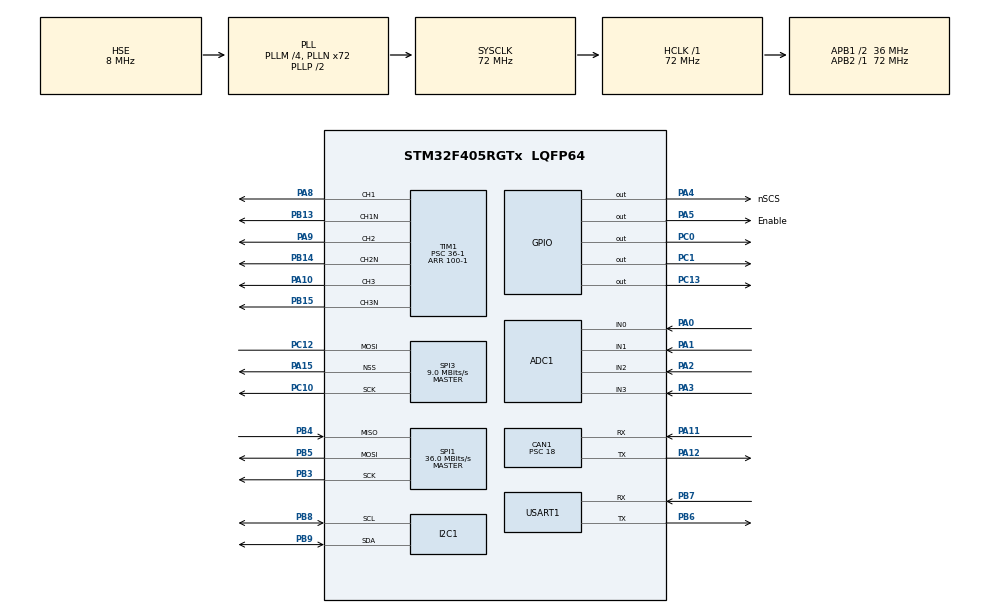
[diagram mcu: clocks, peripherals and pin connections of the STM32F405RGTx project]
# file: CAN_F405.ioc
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ADC1.Channel-0\#ChannelRegularConversion=ADC_CHANNEL_0
ADC1.Channel-10\#ChannelInjectedConversion=ADC_CHANNEL_1
ADC1.Channel-11\#ChannelInjectedConversion=ADC_CHANNEL_2
ADC1.Channel-12\#ChannelInjectedConversion=ADC_CHANNEL_3
ADC1.ContinuousConvMode=DISABLE
ADC1.DataAlign=ADC_DATAALIGN_RIGHT
ADC1.EOCSelection=ADC_EOC_SEQ_CONV
ADC1.ExternalTrigConv=ADC_SOFTWARE_START
ADC1.ExternalTrigInjecConv=ADC_EXTERNALTRIGINJECCONV_T1_CC4
ADC1.InjNumberOfConversion=3
ADC1.InjectedOffset-10\#ChannelInjectedConversion=0
ADC1.InjectedOffset-11\#ChannelInjectedConversion=0
ADC1.InjectedOffset-12\#ChannelInjectedConversion=0
ADC1.InjectedRank-10\#ChannelInjectedConversion=1
ADC1.InjectedRank-11\#ChannelInjectedConversion=2
ADC1.InjectedRank-12\#ChannelInjectedConversion=3
ADC1.NbrOfConversion=1
ADC1.NbrOfConversionFlag=1
ADC1.Rank-0\#ChannelRegularConversion=1
ADC1.SamplingTime-0\#ChannelRegularConversion=ADC_SAMPLETIME_144CYCLES
ADC1.SamplingTime-10\#ChannelInjectedConversion=ADC_SAMPLETIME_15CYCLES
ADC1.SamplingTime-11\#ChannelInjectedConversion=ADC_SAMPLETIME_15CYCLES
ADC1.SamplingTime-12\#ChannelInjectedConversion=ADC_SAMPLETIME_15CYCLES
ADC1.ScanConvMode=ENABLE
ADC1.master=1
CAN1.BS1=CAN_BS1_2TQ
CAN1.CalculateBaudRate=500000
CAN1.CalculateTimeBit=2000
CAN1.CalculateTimeQuantum=500.0
CAN1.Prescaler=18
I2C1.I2C_Mode=I2C_Fast
Mcu.Family=STM32F4
Mcu.Name=STM32F405RGTx
Mcu.Package=LQFP64
NVIC.ADC_IRQn=true\:1\:0\:true\:false\:true\:true\:true
NVIC.CAN1_RX0_IRQn=true\:0\:0\:false\:false\:true\:true\:true
NVIC.PriorityGroup=NVIC_PRIORITYGROUP_4
NVIC.TIM2_IRQn=true\:0\:0\:false\:false\:true\:true\:true
NVIC.TIM3_IRQn=true\:0\:0\:false\:false\:true\:true\:true
NVIC.TIM4_IRQn=true\:0\:0\:false\:false\:true\:true\:true
PA0-WKUP.Signal=ADCx_IN0
PA1.Signal=ADCx_IN1
PA10.Signal=S_TIM1_CH3
PA11.Mode=CAN_Activate
PA11.Signal=CAN1_RX
PA12.Mode=CAN_Activate
PA12.Signal=CAN1_TX
PA13.Mode=Serial_Wire
PA13.Signal=SYS_JTMS-SWDIO
PA14.Mode=Serial_Wire
PA14.Signal=SYS_JTCK-SWCLK
PA15.Mode=NSS_Signal_Hard_Output
PA15.Signal=SPI3_NSS
PA2.Signal=ADCx_IN2
PA3.Signal=ADCx_IN3
PA4.GPIO_Label=nSCS
PA4.Signal=GPIO_Output
PA5.GPIO_Label=Enable
PA5.Signal=GPIO_Output
PA8.Signal=S_TIM1_CH1
PA9.Signal=S_TIM1_CH2
PB13.Mode=PWM Generation1 CH1 CH1N
PB13.Signal=TIM1_CH1N
PB14.Mode=PWM Generation2 CH2 CH2N
PB14.Signal=TIM1_CH2N
PB15.Mode=PWM Generation3 CH3 CH3N
PB15.Signal=TIM1_CH3N
PB3.Mode=Full_Duplex_Master
PB3.Signal=SPI1_SCK
PB4.Mode=Full_Duplex_Master
PB4.Signal=SPI1_MISO
PB5.Mode=Full_Duplex_Master
PB5.Signal=SPI1_MOSI
PB6.Mode=Asynchronous
PB6.Signal=USART1_TX
PB7.Mode=Asynchronous
PB7.Signal=USART1_RX
PB8.Mode=I2C
PB8.Signal=I2C1_SCL
PB9.Mode=I2C
PB9.Signal=I2C1_SDA
PC0.Signal=GPIO_Output
PC1.Signal=GPIO_Output
PC10.Mode=Simplex_Bidirectional_Master
PC10.Signal=SPI3_SCK
PC12.Mode=Simplex_Bidirectional_Master
PC12.Signal=SPI3_MOSI
PC13-ANTI_TAMP.PinState=GPIO_PIN_RESET
PC13-ANTI_TAMP.Signal=GPIO_Output
PH0-OSC_IN.Mode=HSE-External-Oscillator
PH0-OSC_IN.Signal=RCC_OSC_IN
PH1-OSC_OUT.Mode=HSE-External-Oscillator
PH1-OSC_OUT.Signal=RCC_OSC_OUT
ProjectManager.HeapSize=0x200
ProjectManager.StackSize=0x400
ProjectManager.TargetToolchain=MDK-ARM V5.32
RCC.48MHZClocksFreq_Value=36000000
RCC.AHBFreq_Value=72000000
RCC.APB1CLKDivider=RCC_HCLK_DIV2
RCC.APB1Freq_Value=36000000
RCC.APB1TimFreq_Value=72000000
RCC.APB2Freq_Value=72000000
RCC.APB2TimFreq_Value=72000000
RCC.CortexFreq_Value=72000000
RCC.HCLKFreq_Value=72000000
RCC.HSE_VALUE=8000000
RCC.HSI_VALUE=16000000
RCC.LSE_VALUE=32768
RCC.PLLM=4
RCC.PLLN=72
RCC.PLLSourceVirtual=RCC_PLLSOURCE_HSE
RCC.SYSCLKFreq_VALUE=72000000
RCC.SYSCLKSource=RCC_SYSCLKSOURCE_PLLCLK
RCC.VCOOutputFreq_Value=144000000
SH.ADCx_IN0.0=ADC1_IN0,IN0
SH.ADCx_IN1.0=ADC1_IN1,IN1
SH.ADCx_IN2.0=ADC1_IN2,IN2
SH.ADCx_IN3.0=ADC1_IN3,IN3
SH.S_TIM1_CH1.0=TIM1_CH1,PWM Generation1 CH1 CH1N
SH.S_TIM1_CH2.0=TIM1_CH2,PWM Generation2 CH2 CH2N
SH.S_TIM1_CH3.0=TIM1_CH3,PWM Generation3 CH3 CH3N
SPI1.CRCCalculation=SPI_CRCCALCULATION_DISABLE
SPI1.CalculateBaudRate=36.0 MBits/s
SPI1.Direction=SPI_DIRECTION_2LINES
SPI1.Mode=SPI_MODE_MASTER
SPI1.VirtualType=VM_MASTER
SPI3.BaudRatePrescaler=SPI_BAUDRATEPRESCALER_4
SPI3.CalculateBaudRate=9.0 MBits/s
SPI3.Direction=SPI_DIRECTION_1LINE
SPI3.Mode=SPI_MODE_MASTER
SPI3.VirtualNSS=VM_NSSHARD
SPI3.VirtualType=VM_MASTER
TIM1.AutoReloadPreload=TIM_AUTORELOAD_PRELOAD_DISABLE
TIM1.Channel-PWM\ Generation1\ CH1\ CH1N=TIM_CHANNEL_1
TIM1.Channel-PWM\ Generation2\ CH2\ CH2N=TIM_CHANNEL_2
TIM1.Channel-PWM\ Generation3\ CH3\ CH3N=TIM_CHANNEL_3
TIM1.Channel-PWM\ Generation4\ No\ Output=TIM_CHANNEL_4
TIM1.CounterMode=TIM_COUNTERMODE_CENTERALIGNED1
TIM1.DeadTime=5
TIM1.LockLevel=TIM_LOCKLEVEL_OFF
TIM1.OCIdleState_4=TIM_OCIDLESTATE_SET
TIM1.OCMode_PWM-PWM\ Generation4\ No\ Output=TIM_OCMODE_PWM2
TIM1.OCNIdleState_1=TIM_OCNIDLESTATE_SET
TIM1.OCNIdleState_2=TIM_OCNIDLESTATE_SET
TIM1.OCNIdleState_3=TIM_OCNIDLESTATE_SET
TIM1.OffStateIDLEMode=TIM_OSSI_ENABLE
TIM1.OffStateRunMode=TIM_OSSR_ENABLE
TIM1.Period=100-1
TIM1.Prescaler=36-1
TIM1.TIM_MasterOutputTrigger=TIM_TRGO_OC4REF
TIM2.AutoReloadPreload=TIM_AUTORELOAD_PRELOAD_ENABLE
TIM2.Period=1000-1
TIM2.Prescaler=72-1
TIM3.AutoReloadPreload=TIM_AUTORELOAD_PRELOAD_ENABLE
TIM3.Period=1000-1
TIM3.Prescaler=72-1
TIM4.Period=1000-1
TIM4.Prescaler=72-1
USART1.VirtualMode=VM_ASYNC
VP_TIM1_VS_ClockSourceINT.Mode=Internal
VP_TIM1_VS_no_output4.Mode=PWM Generation4 No Output
VP_TIM2_VS_ClockSourceINT.Mode=Internal
VP_TIM3_VS_ClockSourceINT.Mode=Internal
VP_TIM4_VS_ClockSourceINT.Mode=Internal
board=custom

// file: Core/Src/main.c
/* USER CODE BEGIN Header */
/**
  ******************************************************************************
  * @file           : main.c
  * @brief          : Main program body
  ******************************************************************************
  * @attention
  *
  * Copyright (c) 2022 STMicroelectronics.
  * All rights reserved.
  *
  * This software is licensed under terms that can be found in the LICENSE file
  * in the root directory of this software component.
  * If no LICENSE file comes with this software, it is provided AS-IS.
  *
  ******************************************************************************
  */
/* USER CODE END Header */
#include "main.h"
#include "adc.h"
#include "can.h"
#include "i2c.h"
#include "spi.h"
#include "tim.h"
#include "usart.h"
#include "gpio.h"
#include <math.h>
#include "lcd114.h"
#include "AS5600.h"
#include "drv8323.h"
#include "FOC.h"
#include "PID.h"

/* USER CODE BEGIN Includes */
//#define Duty 40
//#define A0 __HAL_TIM_SET_COMPARE(&htim1,TIM_CHANNEL_1,0)
//#define B0 __HAL_TIM_SET_COMPARE(&htim1,TIM_CHANNEL_2,0)
//#define C0 __HAL_TIM_SET_COMPARE(&htim1,TIM_CHANNEL_3,0)
//#define A1 __HAL_TIM_SET_COMPARE(&htim1,TIM_CHANNEL_1,Duty)
//#define B1 __HAL_TIM_SET_COMPARE(&htim1,TIM_CHANNEL_2,Duty)
//#define C1 __HAL_TIM_SET_COMPARE(&htim1,TIM_CHANNEL_3,Duty)
/* USER CODE END Includes */

/* USER CODE BEGIN PM */
float angle_sp=0;                         //角度给定
float vel_sp=0;                           //转速给定
float tor_sp=0;                           //力矩给定

float angle_el=0;                         //电角度
float angle=0;                            //机械角度/56

int p=14;               //电机极对数

extern float vel_LPF;    //PID参数
extern float tor_q;
extern float Iq;
extern float Id;
extern float Uq_set;
extern float Ud_set;
extern float vel_c;
extern float Ts;

extern float integral_Iq_prev;
extern float integral_vel_prev;

extern float Power;      //ADC参数
extern float Ia;
extern float Ib;
extern float Ic;

float warebuf[8];

/* USER CODE END PM */

/* USER CODE BEGIN PV */
//int fputc(int c,FILE *sream)
//{
//	HAL_UART_Transmit(&huart1,(unsigned char *)&c,1,1000);
//	return 1;
//}
/* USER CODE END PV */

void SystemClock_Config(void);
/* USER CODE BEGIN PFP */
float as5600GetAngle();
/* USER CODE END PFP */

/* USER CODE BEGIN 0 */
  static CAN_TxHeaderTypeDef TxHeader;
  static CAN_RxHeaderTypeDef RxHeader;
  uint8_t TxData[8];
	uint8_t RxData[8];

	uint32_t TxMailbox;

	float current;

	int16_t set_speed;
	int16_t set_angle;
	float set_current;
void HAL_CAN_RxFifo0MsgPendingCallback(CAN_HandleTypeDef *hcan1)                   //CAN数据接收回调
{
	HAL_CAN_GetRxMessage(hcan1,CAN_RX_FIFO0,&RxHeader,RxData);
	if(RxHeader.StdId == 0x0201)                                                    //转速
	{
		if(RxData[0] == 0) vel_sp = (16*16*16*RxData[1]+16*16*RxData[2]+16*RxData[3]+RxData[4])*2*3.14/60;
		else if (RxData[0] == 1) vel_sp = -(16*16*16*RxData[1]+16*16*RxData[2]+16*RxData[3]+RxData[4])*2*3.14/60;
			DRV832x_initSPIInterface(GPIOA, GPIO_PIN_4, &hspi1, GPIOA, GPIO_PIN_5);

	}
	else if(RxHeader.StdId == 0x0202)                                               //角度
	{
		if(RxData[0] == 0) angle_sp = 16*16*RxData[1]+16*RxData[2]+RxData[3];
		else if (RxData[0] == 1) angle_sp = -(16*16*RxData[1]+16*RxData[2]+RxData[3]);
			DRV832x_initSPIInterface(GPIOA, GPIO_PIN_4, &hspi1, GPIOA, GPIO_PIN_5);
	}
	else if(RxHeader.StdId == 0x0203)                                               //电流
	{
		if(RxData[0] == 0) tor_sp = RxData[1]+0.01*(16*RxData[2]+RxData[3]);
		else if (RxData[0] == 1) tor_sp = -(RxData[1]+0.01*(16*RxData[2]+RxData[3]));
		DRV832x_initSPIInterface(GPIOA, GPIO_PIN_4, &hspi1, GPIOA, GPIO_PIN_5);
	}
	else if(RxHeader.StdId == 0x0204)
	{
		DRV832x_disable(GPIOA, GPIO_PIN_5);
		angle_sp=0;
    vel_sp=0;
    tor_sp=0;
		integral_Iq_prev=0;
		integral_vel_prev=0;
	}
}

/* USER CODE END 0 */

int main(void)
{

  /* MCU Configuration--------------------------------------------------------*/

  /* Reset of all peripherals, Initializes the Flash interface and the Systick. */
  HAL_Init();

  /* Configure the system clock */
  SystemClock_Config();

  /* Initialize all configured peripherals */
  MX_GPIO_Init();
  MX_CAN1_Init();
  MX_SPI3_Init();
  MX_I2C1_Init();
  MX_USART1_UART_Init();
  MX_ADC1_Init();
  MX_TIM1_Init();
  MX_SPI1_Init();
  MX_TIM2_Init();
  MX_TIM3_Init();
  MX_TIM4_Init();
  /* USER CODE BEGIN 2 */
	HAL_TIM_PWM_Start(&htim1,TIM_CHANNEL_1);
	HAL_TIM_PWM_Start(&htim1,TIM_CHANNEL_2);
	HAL_TIM_PWM_Start(&htim1,TIM_CHANNEL_3);
	HAL_TIMEx_PWMN_Start(&htim1,TIM_CHANNEL_1);
	HAL_TIMEx_PWMN_Start(&htim1,TIM_CHANNEL_2);
  HAL_TIMEx_PWMN_Start(&htim1,TIM_CHANNEL_3);
	HAL_TIM_PWM_Start(&htim1,TIM_CHANNEL_4);

  DRV832x_enable_gd();

//	DRV832x_disable(GPIOA, GPIO_PIN_5);
//	delay_us(40);
//  DRV832x_enable(GPIOA, GPIO_PIN_5);
  //DRV832x_initSPIInterface(GPIOA, GPIO_PIN_4, &hspi1, GPIOA, GPIO_PIN_5);
	DRV832x_write_DCR(DIS_CPUV_EN, DIS_GDF_EN, OTW_REP_DIS, PWM_MODE_6X, PWM_1X_COM_SYNC , PWM_1X_DIR_0, 0x0, 0x0, 0x1);
	delay_us(100);
	DRV832x_write_HSR(LOCK_OFF, IDRIVEP_HS_1000MA, IDRIVEN_HS_380MA);
	delay_us(100);
  DRV832x_write_LSR(0x1, TDRIVE_1000NS, IDRIVEP_LS_1000MA, IDRIVEN_LS_380MA);
	delay_us(100);
  DRV832x_write_OCPCR(TRETRY_4MS, DEADTIME_50NS, OCP_RETRY, OCP_DEG_8US, VDS_LVL_0_06);
	delay_us(100);
  DRV832x_write_CSACR(CSA_FET_SP, VREF_DIV_1, LS_REF_SH_SP , CSA_GAIN_40, DIS_SEN_EN, CSA_CAL_NROMAL, CSA_CAL_NROMAL, CSA_CAL_NROMAL, SEN_LVL_1_0);

	DRV832x_disable_gd();

//	TxHeader.DLC = 2;
//  TxHeader.IDE = CAN_ID_STD;
//	TxHeader.RTR = CAN_RTR_DATA;
//	TxHeader.StdId = 0x446;

//	TxData[0] = 100;
//	TxData[1] = 10;
	CAN1_Filter_init();
	HAL_CAN_ActivateNotification(&hcan1,CAN_IT_RX_FIFO0_MSG_PENDING);

	HAL_ADC_Start_IT(&hadc1);
	//HAL_ADC_Start(&hadc1);
	HAL_ADCEx_InjectedStart_IT(&hadc1);
	HAL_TIM_Base_Start_IT(&htim2);
  //HAL_TIM_Base_Start_IT(&htim3);
	//HAL_TIM_Base_Start_IT(&htim4);
	//HAL_ADC_Start_DMA(&hadc1,&adc_current[3],3);

	Lcd_Init();
	LCD_Clear(BLACK);
  BACK_COLOR=BLACK;
	as5600Init();
		voltage_power_supply=24;
	LCD_ShowString(220,10,"V",YELLOW);
	LCD_ShowString(10,30,"Speed:",RED);
	LCD_ShowString(10,45,"Angle:",BLUE);
	//LCD_ShowString(10,90,"Current:",GREEN);
	LCD_ShowString(10,75,"Uq_set:",CYAN);
		LCD_ShowString(10,90,"Ud_set:",CYAN);
	LCD_ShowString(10,60,"Tor_sp:",GREEN);
	LCD_ShowString(10,105,"Id:",CYAN);

	//HAL_UART_Init(&huart1);

  /* USER CODE END 2 */
 // for(int i=0; i<1000; i++)     //电角度初始化
	//{
	//	setPhaseVoltage(0,2,0);
	// }

  /* Infinite loop */
  while (1)
  {
		//HAL_UART_Transmit(&huart1,"FUCK",6,0xFFFF);
    LCD_ShowNum1(180,10,Power,4,YELLOW);
    //setPhaseVoltage(5,0,angle_el);
//		angle_el=angle_el+0.1;
		//angle=as5600GetAngle();
		//angle_el=angle*p;
		LCD_ShowNum1(70,45,fabsf(angle_sp),4,WHITE);
		LCD_ShowNum1(70,30,fabsf(vel_sp*9.56-10),5,WHITE);
		LCD_ShowNum1(80,60,fabsf(tor_sp),6,WHITE);
		LCD_ShowNum1(30,10,fabsf(angle*56),7,WHITE);
		LCD_ShowNum1(180,45,fabsf(vel_c),4,WHITE);         //vel_c

		LCD_ShowNum1(180,30,fabsf(vel_LPF*9.56),5,WHITE);
//	LCD_ShowNum1(80,60,Ia,5,WHITE);
	  LCD_ShowNum1(180,60,fabsf(Iq),4,WHITE);
		//LCD_ShowNum1(180,75,fabsf(Id),4,WHITE);
//
		LCD_ShowNum1(80,75,fabsf(Uq_set),6,WHITE);
		LCD_ShowNum1(80,90,fabsf(Ud_set),6,WHITE);
		LCD_ShowNum1(30,105,Id,5,GRAY);

		LCD_ShowNum1(180,75,Ia,5,GRAY);
		LCD_ShowNum1(180,90,Ib,5,GRAY);
		LCD_ShowNum1(180,105,Ic,5,GRAY);
		if(Ia<0) LCD_ShowString(170,75,"-",WHITE);
		else LCD_ShowString(170,75," ",WHITE);
		if(Ib<0) LCD_ShowString(170,90,"-",WHITE);
		else LCD_ShowString(170,90," ",WHITE);
		if(Ic<0) LCD_ShowString(170,105,"-",WHITE);
		else LCD_ShowString(170,105," ",WHITE);

		if(vel_sp<0) LCD_ShowString(60,30,"-",WHITE);
		else LCD_ShowString(60,30," ",WHITE);
		if(Uq_set<0) LCD_ShowString(70,75,"-",WHITE);
		else LCD_ShowString(70,75," ",WHITE);
		if(angle_el<0) LCD_ShowString(10,10,"-",WHITE);
		else LCD_ShowString(10,10," ",WHITE);
		if(vel_LPF<0) LCD_ShowString(160,30,"-",WHITE);
		else LCD_ShowString(160,30," ",WHITE);
		if(Iq<0) LCD_ShowString(160,60,"-",WHITE);
		else LCD_ShowString(160,60," ",WHITE);
		if(tor_sp<0) LCD_ShowString(70,60,"-",WHITE);
		else LCD_ShowString(70,60," ",WHITE);
		//HAL_Delay(1);
  }
}

void SystemClock_Config(void)
{
  RCC_OscInitTypeDef RCC_OscInitStruct = {0};
  RCC_ClkInitTypeDef RCC_ClkInitStruct = {0};

  /** Configure the main internal regulator output voltage
  */
  __HAL_RCC_PWR_CLK_ENABLE();
  __HAL_PWR_VOLTAGESCALING_CONFIG(PWR_REGULATOR_VOLTAGE_SCALE1);
  /** Initializes the RCC Oscillators according to the specified parameters
  * in the RCC_OscInitTypeDef structure.
  */
  RCC_OscInitStruct.OscillatorType = RCC_OSCILLATORTYPE_HSE;
  RCC_OscInitStruct.HSEState = RCC_HSE_ON;
  RCC_OscInitStruct.PLL.PLLState = RCC_PLL_ON;
  RCC_OscInitStruct.PLL.PLLSource = RCC_PLLSOURCE_HSE;
  RCC_OscInitStruct.PLL.PLLM = 4;
  RCC_OscInitStruct.PLL.PLLN = 72;
  RCC_OscInitStruct.PLL.PLLP = RCC_PLLP_DIV2;
  RCC_OscInitStruct.PLL.PLLQ = 4;
  if (HAL_RCC_OscConfig(&RCC_OscInitStruct) != HAL_OK)
  {
    Error_Handler();
  }
  /** Initializes the CPU, AHB and APB buses clocks
  */
  RCC_ClkInitStruct.ClockType = RCC_CLOCKTYPE_HCLK|RCC_CLOCKTYPE_SYSCLK
                              |RCC_CLOCKTYPE_PCLK1|RCC_CLOCKTYPE_PCLK2;
  RCC_ClkInitStruct.SYSCLKSource = RCC_SYSCLKSOURCE_PLLCLK;
  RCC_ClkInitStruct.AHBCLKDivider = RCC_SYSCLK_DIV1;
  RCC_ClkInitStruct.APB1CLKDivider = RCC_HCLK_DIV2;
  RCC_ClkInitStruct.APB2CLKDivider = RCC_HCLK_DIV1;

  if (HAL_RCC_ClockConfig(&RCC_ClkInitStruct, FLASH_LATENCY_2) != HAL_OK)
  {
    Error_Handler();
  }
}

void Error_Handler(void)
{
  __disable_irq();
  while (1)
  {
  }
}
